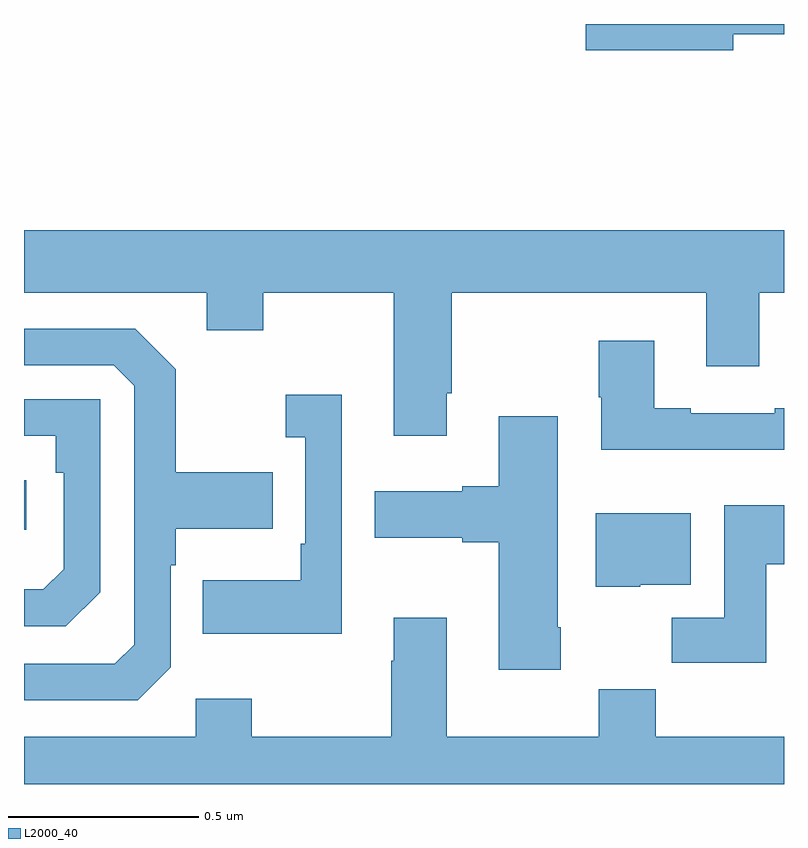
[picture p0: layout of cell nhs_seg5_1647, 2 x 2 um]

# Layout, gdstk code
import gdstk
lib = gdstk.Library(unit=1e-6, precision=1e-09)
def R(c, l, rs):  # rectangles x0, y0, x1, y1
    for r in rs: c.add(gdstk.rectangle(r[:2], r[2:], *l))
def P(c, l, *ps):  # polygons
    for p in ps: c.add(gdstk.Polygon(p, *l))
L2000_40 = (2000, 40)

nhs_seg5_1647 = lib.new_cell('nhs_seg5_1647')
R(nhs_seg5_1647, L2000_40, [(133,857.468,133.006,857.598)])
P(nhs_seg5_1647, L2000_40, [(134.866,858.772),(135,858.772),(135,858.799),(134.478,858.799),(134.478,858.73),(134.866,858.73)],
  [(134.113,857.827),(134.126,857.827),(134.126,858.092),(134.795,858.092),(134.795,857.898),(134.935,857.898),(134.935,858.092),(135,858.092),(135,858.256),(133,858.256),(133,858.092),(133.481,858.092),(133.481,857.993),(133.629,857.993),(133.629,858.092),(133.973,858.092),(133.973,857.715),(134.113,857.715)],
  [(133.386,857.106),(133.386,857.375),(133.399,857.375),(133.399,857.471),(133.655,857.471),(133.655,857.619),(133.399,857.619),(133.399,857.891),(133.293,857.997),(133,857.997),(133,857.901),(133.236,857.901),(133.29,857.847),(133.29,857.166),(133.239,857.115),(133,857.115),(133,857.019),(133.299,857.019)],
  [(135,857.788),(134.975,857.788),(134.975,857.775),(134.755,857.775),(134.755,857.788),(134.659,857.788),(134.659,857.965),(134.512,857.965),(134.512,857.817),(134.519,857.817),(134.519,857.678),(135,857.678)],
  [(133.836,857.824),(133.689,857.824),(133.689,857.711),(133.74,857.711),(133.74,857.431),(133.728,857.431),(133.728,857.335),(133.471,857.335),(133.471,857.195),(133.836,857.195)],
  [(133.2,857.304),(133.2,857.811),(133,857.811),(133,857.715),(133.084,857.715),(133.084,857.618),(133.104,857.618),(133.104,857.364),(133.051,857.311),(133,857.311),(133,857.214),(133.11,857.214)],
  [(134.412,857.212),(134.404,857.212),(134.404,857.767),(134.249,857.767),(134.249,857.582),(134.153,857.582),(134.153,857.569),(133.923,857.569),(133.923,857.447),(134.153,857.447),(134.153,857.435),(134.249,857.435),(134.249,857.1),(134.412,857.1)],
  [(134.953,857.377),(135,857.377),(135,857.533),(134.843,857.533),(134.843,857.236),(134.704,857.236),(134.704,857.118),(134.953,857.118)],
  [(134.622,857.324),(134.755,857.324),(134.755,857.512),(134.504,857.512),(134.504,857.318),(134.622,857.318)],
  [(135,856.924),(134.663,856.924),(134.663,857.048),(134.512,857.048),(134.512,856.924),(134.113,856.924),(134.113,857.236),(133.973,857.236),(133.973,857.123),(133.966,857.123),(133.966,856.924),(133.599,856.924),(133.599,857.023),(133.452,857.023),(133.452,856.924),(133,856.924),(133,856.799),(135,856.799)])

lib.write_gds('nhs_seg5_1647.gds')
